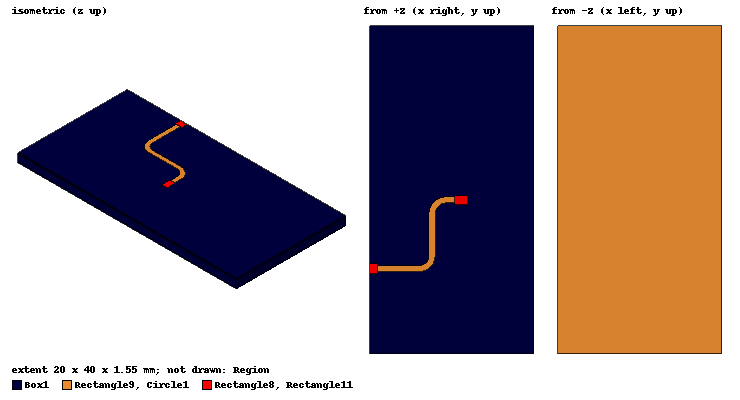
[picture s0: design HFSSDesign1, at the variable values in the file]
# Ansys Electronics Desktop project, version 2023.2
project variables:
  $w = 0.75mm
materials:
  vacuum: permittivity=1
  FR4_epoxy: permittivity=4.4 dielectric_loss_tangent=0.02
  Arlon TC600 (tm): permittivity=6.15 dielectric_loss_tangent=0.002
  air: permittivity=1.0006 permeability=1.0000004

design HFSSDesign1 (HFSS, HFSS Terminal Network, model units mm)
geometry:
  Rectangle1 = rectangle(corner=(0mm, 0mm, 0mm), x_size=6mm, y_size=$w)
  Circle1 = circle(normal=Z, centre=(6mm, 2mm, 0mm), radius=2mm)
  Circle2 = circle(normal=Z, centre=(6mm, 2mm, 0mm), radius=1.25mm)
  Circle1.subtract(Circle2)
  Rectangle2 = rectangle(corner=(6mm, 0mm, 0mm), x_size=-2mm, y_size=4.5mm)
  Rectangle3 = rectangle(corner=(8mm, 2mm, 0mm), x_size=-4.5mm, y_size=3mm)
  Rectangle2.unite(Rectangle3)
  Circle1.subtract(Rectangle2)
  Rectangle4 = rectangle(corner=(7.25mm, 2mm, 0mm), x_size=$w, y_size=5.1057mm)
  Circle4 = circle(normal=Z, centre=(9.25mm, 7.1057mm, 0mm), radius=2mm)
  Circle5 = circle(normal=Z, centre=(9.25mm, 7.1057mm, 0mm), radius=1.25mm)
  Circle4.subtract(Circle5)
  Rectangle5 = rectangle(corner=(7.25mm, 7.1057mm, 0mm), x_size=3.35mm, y_size=-2.3057mm)
  Rectangle6 = rectangle(corner=(9.25mm, 9.1057mm, 0mm), x_size=2.15mm, y_size=-4.7057mm)
  Rectangle6.unite(Rectangle5)
  Circle4.subtract(Rectangle6)
  Rectangle7 = rectangle(corner=(9.25mm, 8.3557mm, 0mm), x_size=1.16mm, y_size=$w)
  Rectangle8 = rectangle(corner=(10.41mm, 8.3557mm, 0mm), x_size=1.5mm, y_size=1mm)
  Rectangle8.move(0mm, -0.125mm, 0mm)
  Circle1.unite(Circle4, Rectangle1, Rectangle4, Rectangle7)
  Box1 [FR4_epoxy] = box(corner=(0mm, -10mm, 0mm), size=(20mm, 40mm, -1.55mm))
  Region [air] = region(absolute_offset=10mm on all sides)
  Rectangle9 = rectangle(corner=(20mm, -10mm, -1.55mm), x_size=-20mm, y_size=40mm)
  Rectangle10 = rectangle(corner=(0mm, 0mm, 0mm), x_size=1mm, y_size=0.8mm)
  Circle1.subtract(Rectangle10)
  Rectangle11 = rectangle(corner=(0mm, -0.2mm, 0mm), x_size=1mm, y_size=1.2mm)
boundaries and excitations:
  Rad1: Radiation Objects=Region
  PerfE1: Perfect E Objects=[Rectangle9, Circle1]
  1: Lumped Port Objects=Rectangle8 LumpedPortType=Modal Modes{Mode1{IntLine{(11.91, 8.7307, 0) -> (10.41, 8.7307, 0)} CharImp=Zpi RenormImp=50ohm}} Impedance=50ohm
  2: Lumped Port Objects=Rectangle11 LumpedPortType=Modal Modes{Mode1{IntLine{(1, 0.4, 0) -> (0, 0.4, 0)} CharImp=Zpi RenormImp=50ohm}} Impedance=50ohm
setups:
  Setup1: HfssDriven Frequency=0.868GHz MaxDeltaS=0.02 MaximumPasses=15 MinimumPasses=1 MinimumConvergedPasses=1 PercentRefinement=30 BasisOrder=1 PortAccuracy=2 DrivenSolverType="Direct Solver"
    sweep Sweep: 0.434GHz to 5GHz, 401 points; Type=Interpolating InterpTolerance=0.5 InterpMaxSolns=250 PassivityErrorTolerance=0.0001
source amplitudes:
  1:1: 1V 0deg
  2:1: 0V 0deg
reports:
  Terminal S Parameter Plot 1: dB(St(1,1)) vs Freq on Setup1 : Sweep
  Z Parameter Plot 1: re(Z(1,1)), im(Z(1,1)) vs Freq on Setup1 : Sweep; markers MX1 at x=4.0445628e+09, MY1 at y=50
